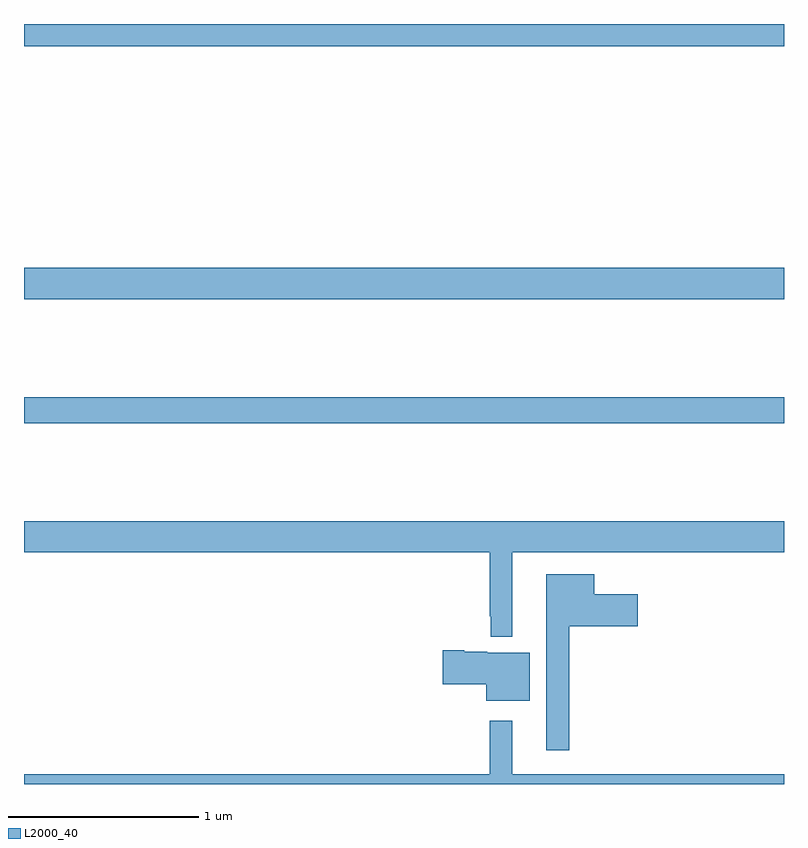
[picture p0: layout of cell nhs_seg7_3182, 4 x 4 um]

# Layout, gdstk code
import gdstk
lib = gdstk.Library(unit=1e-6, precision=1e-09)
def R(c, l, rs):  # rectangles x0, y0, x1, y1
    for r in rs: c.add(gdstk.rectangle(r[:2], r[2:], *l))
def P(c, l, *ps):  # polygons
    for p in ps: c.add(gdstk.Polygon(p, *l))
L2000_40 = (2000, 40)

nhs_seg7_3182 = lib.new_cell('nhs_seg7_3182')
R(nhs_seg7_3182, L2000_40, [(313,1063.9,317,1064.036), (313,1064.552,317,1064.716), (313,1065.884,317,1066)])
P(nhs_seg7_3182, L2000_40, [(315.571,1063.22),(317,1063.22),(317,1063.384),(313,1063.384),(313,1063.22),(315.45,1063.22),(315.45,1062.883),(315.457,1062.883),(315.457,1062.776),(315.571,1062.776)],
  [(315.871,1062.83),(316.231,1062.83),(316.231,1063),(316,1063),(316,1063.105),(315.749,1063.105),(315.749,1062.177),(315.871,1062.177)],
  [(315.661,1062.691),(315.438,1062.691),(315.438,1062.697),(315.316,1062.697),(315.316,1062.704),(315.204,1062.704),(315.204,1062.526),(315.434,1062.526),(315.434,1062.437),(315.661,1062.437)],
  [(317,1062.052),(315.571,1062.052),(315.571,1062.334),(315.45,1062.334),(315.45,1062.052),(313,1062.052),(313,1062),(317,1062)])

lib.write_gds('nhs_seg7_3182.gds')
